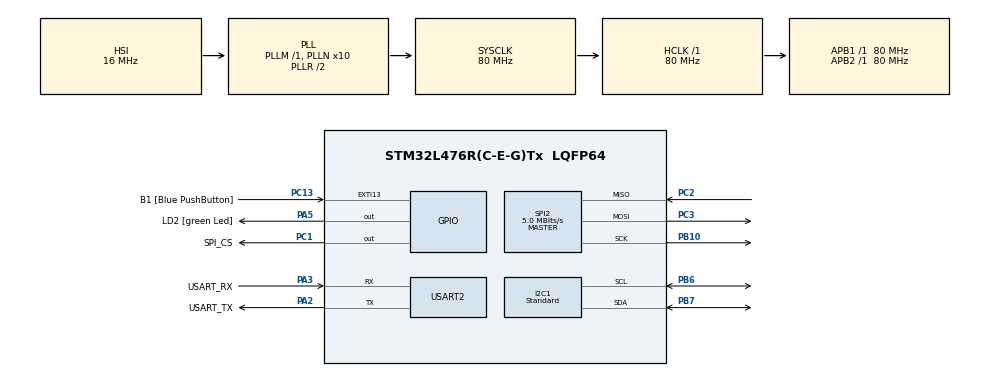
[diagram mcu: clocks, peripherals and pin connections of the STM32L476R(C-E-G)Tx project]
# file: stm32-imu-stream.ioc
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Dma.Request0=USART2_TX
Dma.USART2_TX.0.Direction=DMA_MEMORY_TO_PERIPH
Dma.USART2_TX.0.Instance=DMA1_Channel7
Dma.USART2_TX.0.MemDataAlignment=DMA_MDATAALIGN_BYTE
Dma.USART2_TX.0.MemInc=DMA_MINC_ENABLE
Dma.USART2_TX.0.Mode=DMA_NORMAL
Dma.USART2_TX.0.PeriphDataAlignment=DMA_PDATAALIGN_BYTE
Dma.USART2_TX.0.PeriphInc=DMA_PINC_DISABLE
Dma.USART2_TX.0.Priority=DMA_PRIORITY_LOW
I2C1.Analog_Filter=I2C_ANALOGFILTER_DISABLE
I2C1.I2C_Speed_Mode=I2C_Standard
I2C1.Timing=0x10D19EE6
Mcu.Family=STM32L4
Mcu.Name=STM32L476R(C-E-G)Tx
Mcu.Package=LQFP64
NVIC.DMA1_Channel7_IRQn=true\:0\:0\:false\:false\:true\:false\:true\:true
NVIC.PriorityGroup=NVIC_PRIORITYGROUP_4
NVIC.TIM4_IRQn=true\:0\:0\:false\:false\:true\:true\:true\:true
NVIC.USART2_IRQn=true\:0\:0\:false\:false\:true\:true\:true\:true
PA13\ (JTMS-SWDIO).GPIO_Label=TMS
PA13\ (JTMS-SWDIO).Signal=SYS_JTMS-SWDIO
PA14\ (JTCK-SWCLK).GPIO_Label=TCK
PA14\ (JTCK-SWCLK).Signal=SYS_JTCK-SWCLK
PA2.GPIO_Label=USART_TX
PA2.GPIO_Mode=GPIO_MODE_AF_PP
PA2.GPIO_PuPd=GPIO_NOPULL
PA2.GPIO_Speed=GPIO_SPEED_FREQ_VERY_HIGH
PA2.Mode=Asynchronous
PA2.Signal=USART2_TX
PA3.GPIO_Label=USART_RX
PA3.GPIO_Mode=GPIO_MODE_AF_PP
PA3.GPIO_PuPd=GPIO_NOPULL
PA3.GPIO_Speed=GPIO_SPEED_FREQ_VERY_HIGH
PA3.Mode=Asynchronous
PA3.Signal=USART2_RX
PA5.GPIO_Label=LD2 [green Led]
PA5.GPIO_ModeDefaultOutputPP=GPIO_MODE_OUTPUT_PP
PA5.GPIO_PuPd=GPIO_NOPULL
PA5.GPIO_Speed=GPIO_SPEED_FREQ_LOW
PA5.Signal=GPIO_Output
PB10.Mode=Full_Duplex_Master
PB10.Signal=SPI2_SCK
PB3\ (JTDO-TRACESWO).GPIO_Label=SWO
PB3\ (JTDO-TRACESWO).Signal=SYS_JTDO-SWO
PB6.GPIO_Pu=GPIO_NOPULL
PB6.Mode=I2C
PB6.Signal=I2C1_SCL
PB7.GPIO_Pu=GPIO_NOPULL
PB7.Mode=I2C
PB7.Signal=I2C1_SDA
PC1.GPIO_Label=SPI_CS
PC1.Signal=GPIO_Output
PC13.GPIO_Label=B1 [Blue PushButton]
PC13.GPIO_ModeDefaultEXTI=GPIO_MODE_IT_FALLING
PC13.GPIO_PuPd=GPIO_NOPULL
PC13.Signal=GPXTI13
PC14-OSC32_IN\ (PC14).Signal=RCC_OSC32_IN
PC15-OSC32_OUT\ (PC15).Signal=RCC_OSC32_OUT
PC2.Mode=Full_Duplex_Master
PC2.Signal=SPI2_MISO
PC3.Mode=Full_Duplex_Master
PC3.Signal=SPI2_MOSI
PH0-OSC_IN\ (PH0).Signal=RCC_OSC_IN
PH1-OSC_OUT\ (PH1).Signal=RCC_OSC_OUT
ProjectManager.HeapSize=0x200
ProjectManager.StackSize=0x400
ProjectManager.TargetToolchain=STM32CubeIDE
RCC.ADCFreq_Value=64000000
RCC.AHBFreq_Value=80000000
RCC.APB1Freq_Value=80000000
RCC.APB1TimFreq_Value=80000000
RCC.APB2Freq_Value=80000000
RCC.APB2TimFreq_Value=80000000
RCC.CortexFreq_Value=80000000
RCC.HCLKFreq_Value=80000000
RCC.HSE_VALUE=8000000
RCC.HSI_VALUE=16000000
RCC.LSE_VALUE=32768
RCC.MSI_VALUE=4000000
RCC.PLLN=10
RCC.PLLSourceVirtual=RCC_PLLSOURCE_HSI
RCC.PREFETCH_ENABLE=1
RCC.SYSCLKFreq_VALUE=80000000
RCC.SYSCLKSource=RCC_SYSCLKSOURCE_PLLCLK
RCC.USBFreq_Value=64000000
RCC.VCOOutputFreq_Value=160000000
SPI2.BaudRatePrescaler=SPI_BAUDRATEPRESCALER_16
SPI2.CLKPhase=SPI_PHASE_2EDGE
SPI2.CLKPolarity=SPI_POLARITY_HIGH
SPI2.CalculateBaudRate=5.0 MBits/s
SPI2.DataSize=SPI_DATASIZE_8BIT
SPI2.Direction=SPI_DIRECTION_2LINES
SPI2.Mode=SPI_MODE_MASTER
SPI2.VirtualType=VM_MASTER
STMicroelectronics.X-CUBE-ALGOBUILD.1.4.0.LibraryCcDSPOoLibraryJjDSPOoLibrary=true
TIM4.Period=4999
TIM4.Prescaler=79
USART2.VirtualMode-Asynchronous=VM_ASYNC
VP_STMicroelectronics.X-CUBE-ALGOBUILD_VS_DSPOoLibraryJjLibrary_1.4.0_1.4.0.Mode=DSPOoLibraryJjLibrary
VP_TIM4_VS_ClockSourceINT.Mode=Internal
board=NUCLEO-L476RG

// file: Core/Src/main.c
/* USER CODE BEGIN Header */
/**
  ******************************************************************************
  * @file           : main.c
  * @brief          : Main program body
  ******************************************************************************
  * @attention
  *
  * Copyright (c) 2026 STMicroelectronics.
  * All rights reserved.
  *
  * This software is licensed under terms that can be found in the LICENSE file
  * in the root directory of this software component.
  * If no LICENSE file comes with this software, it is provided AS-IS.
  *
  ******************************************************************************
  */
/* USER CODE END Header */
#include "main.h"

/* USER CODE BEGIN Includes */
#include "stdio.h"
#include "serial.h"
#include "sensor_config.h"   /* sensor / bus / mag selection — edit that file */
/* USER CODE END Includes */

/* USER CODE BEGIN PD */
/* See Core/Inc/sensor_config.h */
/* USER CODE END PD */

I2C_HandleTypeDef hi2c1;

SPI_HandleTypeDef hspi2;

TIM_HandleTypeDef htim4;

UART_HandleTypeDef huart2;
DMA_HandleTypeDef hdma_usart2_tx;

/* USER CODE BEGIN PV */

/* IMU handle */
#if defined(SENSOR_MPU6050)
    static mpu6050_handle_t    imu;
#elif defined(SENSOR_MPU9250)
    static mpu9250_handle_t    imu;
#elif defined(SENSOR_ICM42688)
    static icm42688_handle_t   imu;
#elif defined(SENSOR_LSM6DSO)
    static lsm6dso_handle_t    imu;
#elif defined(SENSOR_ISM330DHCX)
    static ism330dhcx_handle_t imu;
#elif defined(SENSOR_ICM20948)
    static icm20948_handle_t   imu;
#endif

/* Standalone magnetometer handle */
#if defined(MAG_LIS3MDL)
    static lis3mdl_handle_t    mag_handle;
#elif defined(MAG_MMC5983MA)
    static mmc5983ma_handle_t  mag_handle;
#endif

#if MAG_DEFINED
static uint8_t mag_ok = 0;
#endif

static imu_raw_data_t imu_data;
static mag_raw_data_t mag_data;
uint8_t uart_data[20];

/* I2C bus contexts — 7-bit address shifted left by 1 for STM32 HAL */
#if defined(SENSOR_BUS_I2C)
    static uint16_t imu_i2c_addr = SENSOR_I2C_ADDR;
#endif
#if defined(SENSOR_MPU9250) && defined(SENSOR_BUS_I2C)
    static uint16_t ak_i2c_addr  = 0x0C;   /* AK8963 on bypass bus */
#endif
#if MAG_STANDALONE
    static uint16_t mag_i2c_addr = MAG_I2C_ADDR;
#endif

/* USER CODE END PV */

void SystemClock_Config(void);
static void MX_GPIO_Init(void);
static void MX_DMA_Init(void);
static void MX_SPI2_Init(void);
static void MX_TIM4_Init(void);
static void MX_USART2_UART_Init(void);
static void MX_I2C1_Init(void);

/* USER CODE BEGIN 0 */

void HAL_TIM_PeriodElapsedCallback(TIM_HandleTypeDef *htim)
{
    if (htim == &htim4)
    {
        IMU_ReadRaw((imu_handle_t *)&imu, &imu_data);
#if MAG_DEFINED
        if (mag_ok)
            MAG_ReadCorrected(MAG_HANDLE, &mag_data);
#endif
        serial_send_packet(&imu_data, &mag_data);
    }
}

static int8_t i2c_read(uint8_t reg, uint8_t *buf, uint16_t len, void *ctx)
{
    uint16_t addr = *(uint16_t *)ctx;
    addr = (addr << 1) + 1;
    if (HAL_I2C_Master_Transmit(&hi2c1, addr, &reg, 1, 100) != HAL_OK) return -1;
    if (HAL_I2C_Master_Receive (&hi2c1, addr, buf, len, 100) != HAL_OK) return -1;
    return 0;
}

static int8_t i2c_write(uint8_t reg, const uint8_t *buf, uint16_t len, void *ctx)
{
    uint16_t addr = *(uint16_t *)ctx;
    uint8_t  tx[15];   /* 1 reg byte + up to 32 data bytes */
    addr <<= 1;
    if (len > 15) return -1;
    tx[0] = reg;
    for (uint16_t i = 0; i < len; i++) tx[i + 1] = buf[i];
    return HAL_I2C_Master_Transmit(&hi2c1, addr, tx, len + 1, 100) == HAL_OK ? 0 : -1;
}

/* SPI read: assert CS, send register with read-bit set, receive data, deassert CS */
static int8_t spi2_read(uint8_t reg, uint8_t *buf, uint16_t len, void *ctx)
{
    SPI_HandleTypeDef *hspi = (SPI_HandleTypeDef *)ctx;
    uint8_t tx = 0x80 | reg;
	HAL_GPIO_WritePin(SPI_CS_GPIO_Port, SPI_CS_Pin,
			GPIO_PIN_RESET);
    HAL_SPI_Transmit(hspi, &tx, 1, 10);
    HAL_SPI_Receive(hspi, buf, len, 10);
	HAL_GPIO_WritePin(SPI_CS_GPIO_Port, SPI_CS_Pin,
			GPIO_PIN_SET);
    return 0;
}

/* SPI write: assert CS, send register address, send data bytes, deassert CS */
static int8_t spi2_write(uint8_t reg, const uint8_t *buf, uint16_t len, void *ctx)
{
    SPI_HandleTypeDef *hspi = (SPI_HandleTypeDef *)ctx;
	HAL_GPIO_WritePin(SPI_CS_GPIO_Port, SPI_CS_Pin,
			GPIO_PIN_RESET);
    HAL_SPI_Transmit(hspi, &reg, 1, 10);
    HAL_SPI_Transmit(hspi, (uint8_t *)buf, len, 10);
	HAL_GPIO_WritePin(SPI_CS_GPIO_Port, SPI_CS_Pin,
			GPIO_PIN_SET);
    return 0;
}
/* USER CODE END 0 */

int main(void)
{

  /* MCU Configuration--------------------------------------------------------*/

  /* Reset of all peripherals, Initializes the Flash interface and the Systick. */
  HAL_Init();

  /* Configure the system clock */
  SystemClock_Config();

  /* Initialize all configured peripherals */
  MX_GPIO_Init();
  MX_DMA_Init();
  MX_SPI2_Init();
  MX_TIM4_Init();
  MX_USART2_UART_Init();
  MX_I2C1_Init();
  /* USER CODE BEGIN 2 */

  /* Resolve bus callbacks and context */
#if defined(SENSOR_BUS_SPI)
  #define IMU_READ_CB   spi2_read
  #define IMU_WRITE_CB  spi2_write
  #define IMU_BUS_CTX   ((void *)&hspi2)
  #define IMU_SPI_MODE  1
#else  /* I2C or I2C_ALT */
  #define IMU_READ_CB   i2c_read
  #define IMU_WRITE_CB  i2c_write
  #define IMU_BUS_CTX   ((void *)&imu_i2c_addr)
  #define IMU_SPI_MODE  0
#endif

  /* IMU HandleInit */
#if defined(SENSOR_MPU6050)
  MPU6050_HandleInit(&imu, IMU_READ_CB, IMU_WRITE_CB, HAL_Delay, IMU_BUS_CTX,
                     MPU6050_ADDR_LOW, CFG_ACCEL_RANGE, CFG_GYRO_RANGE);
#elif defined(SENSOR_MPU9250)
  MPU9250_HandleInit(&imu, IMU_READ_CB, IMU_WRITE_CB, HAL_Delay, IMU_BUS_CTX, &ak_i2c_addr,
                     CFG_ACCEL_RANGE, CFG_GYRO_RANGE);
#elif defined(SENSOR_ICM42688)
  ICM42688_HandleInit(&imu, IMU_READ_CB, IMU_WRITE_CB, HAL_Delay, IMU_BUS_CTX,
                      CFG_ACCEL_RANGE, CFG_GYRO_RANGE);
#elif defined(SENSOR_LSM6DSO)
  LSM6DSO_HandleInit(&imu, IMU_READ_CB, IMU_WRITE_CB, HAL_Delay, IMU_BUS_CTX,
                     CFG_ACCEL_RANGE, CFG_GYRO_RANGE);
#elif defined(SENSOR_ISM330DHCX)
  ISM330DHCX_HandleInit(&imu, IMU_READ_CB, IMU_WRITE_CB, HAL_Delay, IMU_BUS_CTX,
                        CFG_ACCEL_RANGE, CFG_GYRO_RANGE);
#elif defined(SENSOR_ICM20948)
  ICM20948_HandleInit(&imu, IMU_READ_CB, IMU_WRITE_CB, HAL_Delay, IMU_BUS_CTX,
                      CFG_ACCEL_RANGE, CFG_GYRO_RANGE, IMU_SPI_MODE);
#endif

  if (IMU_Init((imu_handle_t *)&imu) != IMU_OK) Error_Handler();
  IMU_CalibrateGyro((imu_handle_t *)&imu, 100);

  /* Standalone magnetometer init */
#if MAG_STANDALONE
  #if defined(MAG_LIS3MDL)
    LIS3MDL_HandleInit(&mag_handle, i2c_read, i2c_write, HAL_Delay,
                       &mag_i2c_addr, LIS3MDL_FS_4G);
  #elif defined(MAG_MMC5983MA)
    MMC5983MA_HandleInit(&mag_handle, i2c_read, i2c_write, HAL_Delay,
                         &mag_i2c_addr, MMC5983MA_BW_200HZ);
  #endif
  if (MAG_Init(MAG_HANDLE) == IMU_OK) {
      mag_ok = 1;
      MAG_SetBias(MAG_HANDLE, 1450, -1900, 2500); /* replace with measured hard-iron biases */
      /* LD2 solid ON  = mag init succeeded */
  }
#elif SENSOR_HAS_MAG
  mag_ok = 1;
  MAG_SetBias(MAG_HANDLE,136 , -63, -125);     /* replace with measured hard-iron biases */
#endif
  HAL_Delay(100);
  HAL_TIM_Base_Start_IT(&htim4);
  /* USER CODE END 2 */

  /* Infinite loop */
  while (1)
  {

  }
}

void SystemClock_Config(void)
{
  RCC_OscInitTypeDef RCC_OscInitStruct = {0};
  RCC_ClkInitTypeDef RCC_ClkInitStruct = {0};

  /** Configure the main internal regulator output voltage
  */
  if (HAL_PWREx_ControlVoltageScaling(PWR_REGULATOR_VOLTAGE_SCALE1) != HAL_OK)
  {
    Error_Handler();
  }

  /** Initializes the RCC Oscillators according to the specified parameters
  * in the RCC_OscInitTypeDef structure.
  */
  RCC_OscInitStruct.OscillatorType = RCC_OSCILLATORTYPE_HSI;
  RCC_OscInitStruct.HSIState = RCC_HSI_ON;
  RCC_OscInitStruct.HSICalibrationValue = RCC_HSICALIBRATION_DEFAULT;
  RCC_OscInitStruct.PLL.PLLState = RCC_PLL_ON;
  RCC_OscInitStruct.PLL.PLLSource = RCC_PLLSOURCE_HSI;
  RCC_OscInitStruct.PLL.PLLM = 1;
  RCC_OscInitStruct.PLL.PLLN = 10;
  RCC_OscInitStruct.PLL.PLLP = RCC_PLLP_DIV7;
  RCC_OscInitStruct.PLL.PLLQ = RCC_PLLQ_DIV2;
  RCC_OscInitStruct.PLL.PLLR = RCC_PLLR_DIV2;
  if (HAL_RCC_OscConfig(&RCC_OscInitStruct) != HAL_OK)
  {
    Error_Handler();
  }

  /** Initializes the CPU, AHB and APB buses clocks
  */
  RCC_ClkInitStruct.ClockType = RCC_CLOCKTYPE_HCLK|RCC_CLOCKTYPE_SYSCLK
                              |RCC_CLOCKTYPE_PCLK1|RCC_CLOCKTYPE_PCLK2;
  RCC_ClkInitStruct.SYSCLKSource = RCC_SYSCLKSOURCE_PLLCLK;
  RCC_ClkInitStruct.AHBCLKDivider = RCC_SYSCLK_DIV1;
  RCC_ClkInitStruct.APB1CLKDivider = RCC_HCLK_DIV1;
  RCC_ClkInitStruct.APB2CLKDivider = RCC_HCLK_DIV1;

  if (HAL_RCC_ClockConfig(&RCC_ClkInitStruct, FLASH_LATENCY_4) != HAL_OK)
  {
    Error_Handler();
  }
}

static void MX_I2C1_Init(void)
{

  hi2c1.Instance = I2C1;
  hi2c1.Init.Timing = 0x10D19EE6;
  hi2c1.Init.OwnAddress1 = 0;
  hi2c1.Init.AddressingMode = I2C_ADDRESSINGMODE_7BIT;
  hi2c1.Init.DualAddressMode = I2C_DUALADDRESS_DISABLE;
  hi2c1.Init.OwnAddress2 = 0;
  hi2c1.Init.OwnAddress2Masks = I2C_OA2_NOMASK;
  hi2c1.Init.GeneralCallMode = I2C_GENERALCALL_DISABLE;
  hi2c1.Init.NoStretchMode = I2C_NOSTRETCH_DISABLE;
  if (HAL_I2C_Init(&hi2c1) != HAL_OK)
  {
    Error_Handler();
  }

  /** Configure Analogue filter
  */
  if (HAL_I2CEx_ConfigAnalogFilter(&hi2c1, I2C_ANALOGFILTER_DISABLE) != HAL_OK)
  {
    Error_Handler();
  }

  /** Configure Digital filter
  */
  if (HAL_I2CEx_ConfigDigitalFilter(&hi2c1, 0) != HAL_OK)
  {
    Error_Handler();
  }

}

static void MX_SPI2_Init(void)
{

  /* SPI2 parameter configuration*/
  hspi2.Instance = SPI2;
  hspi2.Init.Mode = SPI_MODE_MASTER;
  hspi2.Init.Direction = SPI_DIRECTION_2LINES;
  hspi2.Init.DataSize = SPI_DATASIZE_8BIT;
  hspi2.Init.CLKPolarity = SPI_POLARITY_HIGH;
  hspi2.Init.CLKPhase = SPI_PHASE_2EDGE;
  hspi2.Init.NSS = SPI_NSS_SOFT;
  hspi2.Init.BaudRatePrescaler = SPI_BAUDRATEPRESCALER_16;
  hspi2.Init.FirstBit = SPI_FIRSTBIT_MSB;
  hspi2.Init.TIMode = SPI_TIMODE_DISABLE;
  hspi2.Init.CRCCalculation = SPI_CRCCALCULATION_DISABLE;
  hspi2.Init.CRCPolynomial = 7;
  hspi2.Init.CRCLength = SPI_CRC_LENGTH_DATASIZE;
  hspi2.Init.NSSPMode = SPI_NSS_PULSE_DISABLE;
  if (HAL_SPI_Init(&hspi2) != HAL_OK)
  {
    Error_Handler();
  }

}

static void MX_TIM4_Init(void)
{

  TIM_ClockConfigTypeDef sClockSourceConfig = {0};
  TIM_MasterConfigTypeDef sMasterConfig = {0};

  htim4.Instance = TIM4;
  htim4.Init.Prescaler = 79;
  htim4.Init.CounterMode = TIM_COUNTERMODE_UP;
  htim4.Init.Period = 4999;
  htim4.Init.ClockDivision = TIM_CLOCKDIVISION_DIV1;
  htim4.Init.AutoReloadPreload = TIM_AUTORELOAD_PRELOAD_DISABLE;
  if (HAL_TIM_Base_Init(&htim4) != HAL_OK)
  {
    Error_Handler();
  }
  sClockSourceConfig.ClockSource = TIM_CLOCKSOURCE_INTERNAL;
  if (HAL_TIM_ConfigClockSource(&htim4, &sClockSourceConfig) != HAL_OK)
  {
    Error_Handler();
  }
  sMasterConfig.MasterOutputTrigger = TIM_TRGO_RESET;
  sMasterConfig.MasterSlaveMode = TIM_MASTERSLAVEMODE_DISABLE;
  if (HAL_TIMEx_MasterConfigSynchronization(&htim4, &sMasterConfig) != HAL_OK)
  {
    Error_Handler();
  }

}

static void MX_USART2_UART_Init(void)
{

  huart2.Instance = USART2;
  huart2.Init.BaudRate = 115200;
  huart2.Init.WordLength = UART_WORDLENGTH_8B;
  huart2.Init.StopBits = UART_STOPBITS_1;
  huart2.Init.Parity = UART_PARITY_NONE;
  huart2.Init.Mode = UART_MODE_TX_RX;
  huart2.Init.HwFlowCtl = UART_HWCONTROL_NONE;
  huart2.Init.OverSampling = UART_OVERSAMPLING_16;
  huart2.Init.OneBitSampling = UART_ONE_BIT_SAMPLE_DISABLE;
  huart2.AdvancedInit.AdvFeatureInit = UART_ADVFEATURE_NO_INIT;
  if (HAL_UART_Init(&huart2) != HAL_OK)
  {
    Error_Handler();
  }

}

static void MX_DMA_Init(void)
{

  /* DMA controller clock enable */
  __HAL_RCC_DMA1_CLK_ENABLE();

  /* DMA interrupt init */
  /* DMA1_Channel7_IRQn interrupt configuration */
  HAL_NVIC_SetPriority(DMA1_Channel7_IRQn, 0, 0);
  HAL_NVIC_EnableIRQ(DMA1_Channel7_IRQn);

}

static void MX_GPIO_Init(void)
{
  GPIO_InitTypeDef GPIO_InitStruct = {0};

  /* GPIO Ports Clock Enable */
  __HAL_RCC_GPIOC_CLK_ENABLE();
  __HAL_RCC_GPIOH_CLK_ENABLE();
  __HAL_RCC_GPIOA_CLK_ENABLE();
  __HAL_RCC_GPIOB_CLK_ENABLE();

  /*Configure GPIO pin Output Level */
  HAL_GPIO_WritePin(SPI_CS_GPIO_Port, SPI_CS_Pin, GPIO_PIN_RESET);

  /*Configure GPIO pin Output Level */
  HAL_GPIO_WritePin(LD2_GPIO_Port, LD2_Pin, GPIO_PIN_RESET);

  /*Configure GPIO pin : B1_Pin */
  GPIO_InitStruct.Pin = B1_Pin;
  GPIO_InitStruct.Mode = GPIO_MODE_IT_FALLING;
  GPIO_InitStruct.Pull = GPIO_NOPULL;
  HAL_GPIO_Init(B1_GPIO_Port, &GPIO_InitStruct);

  /*Configure GPIO pin : SPI_CS_Pin */
  GPIO_InitStruct.Pin = SPI_CS_Pin;
  GPIO_InitStruct.Mode = GPIO_MODE_OUTPUT_PP;
  GPIO_InitStruct.Pull = GPIO_NOPULL;
  GPIO_InitStruct.Speed = GPIO_SPEED_FREQ_LOW;
  HAL_GPIO_Init(SPI_CS_GPIO_Port, &GPIO_InitStruct);

  /*Configure GPIO pin : LD2_Pin */
  GPIO_InitStruct.Pin = LD2_Pin;
  GPIO_InitStruct.Mode = GPIO_MODE_OUTPUT_PP;
  GPIO_InitStruct.Pull = GPIO_NOPULL;
  GPIO_InitStruct.Speed = GPIO_SPEED_FREQ_LOW;
  HAL_GPIO_Init(LD2_GPIO_Port, &GPIO_InitStruct);

}

/* USER CODE BEGIN 4 */
/* USER CODE BEGIN 4 */
int _write(int le, char *ptr, int len)
{
	int DataIdx;
	for(DataIdx = 0; DataIdx < len; DataIdx++)
	{
		ITM_SendChar(*ptr++);
	}
	return len;
}
/* USER CODE END 4 */

void Error_Handler(void)
{
  __disable_irq();
  while (1)
  {
  }
}
